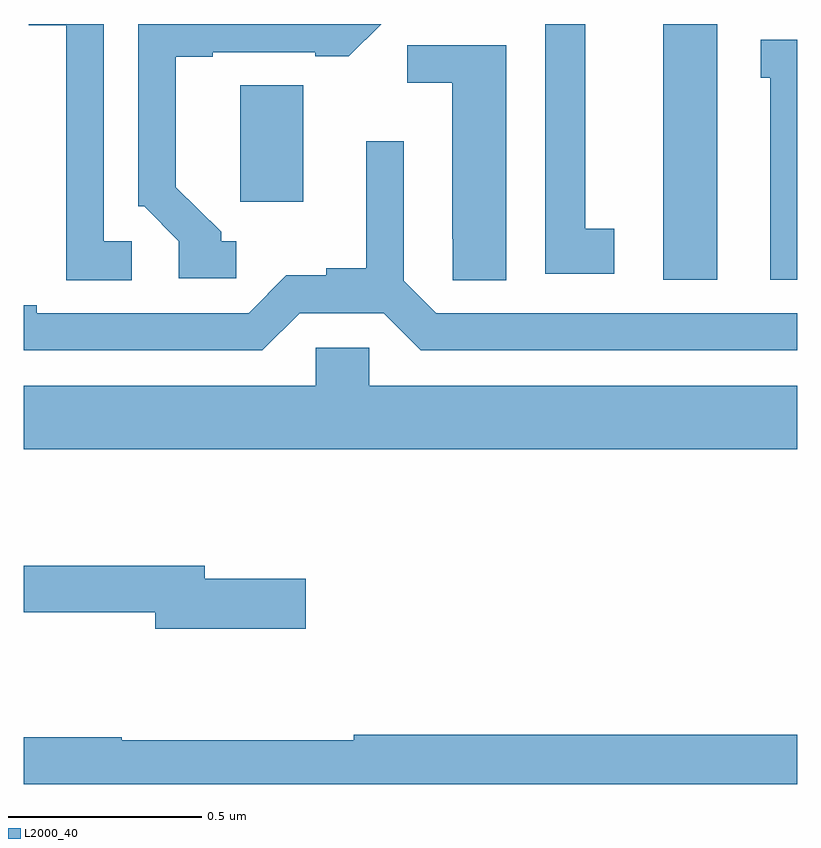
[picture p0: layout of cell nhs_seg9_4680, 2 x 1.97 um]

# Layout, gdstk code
import gdstk
lib = gdstk.Library(unit=1e-6, precision=1e-09)
def R(c, l, rs):  # rectangles x0, y0, x1, y1
    for r in rs: c.add(gdstk.rectangle(r[:2], r[2:], *l))
def P(c, l, *ps):  # polygons
    for p in ps: c.add(gdstk.Polygon(p, *l))
L2000_40 = (2000, 40)

nhs_seg9_4680 = lib.new_cell('nhs_seg9_4680')
R(nhs_seg9_4680, L2000_40, [(170.654,1216.839,170.794,1217.5)])
P(nhs_seg9_4680, L2000_40, [(169.279,1216.938),(169.206,1216.938),(169.206,1217.5),(169.013,1217.5),(169.013,1217.497),(169.109,1217.497),(169.109,1216.837),(169.279,1216.837)],
  [(169.549,1216.938),(169.51,1216.938),(169.51,1216.962),(169.393,1217.078),(169.393,1217.415),(169.489,1217.415),(169.489,1217.427),(169.754,1217.427),(169.754,1217.416),(169.84,1217.416),(169.924,1217.5),(169.296,1217.5),(169.296,1217.028),(169.311,1217.028),(169.401,1216.938),(169.401,1216.842),(169.549,1216.842)],
  [(170.527,1216.97),(170.452,1216.97),(170.452,1217.5),(170.348,1217.5),(170.348,1216.854),(170.527,1216.854)],
  [(171,1217.459),(170.906,1217.459),(170.906,1217.361),(170.93,1217.361),(170.93,1216.839),(171,1216.839)],
  [(170.248,1217.445),(169.992,1217.445),(169.992,1217.348),(170.108,1217.348),(170.108,1216.945),(170.109,1216.945),(170.109,1216.837),(170.248,1216.837)],
  [(169.723,1217.184),(169.722,1217.184),(169.722,1217.342),(169.559,1217.342),(169.559,1217.04),(169.723,1217.04)],
  [(169.713,1216.752),(169.931,1216.752),(170.027,1216.656),(171,1216.656),(171,1216.752),(170.067,1216.752),(169.983,1216.836),(169.983,1217.197),(169.886,1217.197),(169.886,1216.868),(169.782,1216.868),(169.782,1216.85),(169.679,1216.85),(169.581,1216.752),(169.033,1216.752),(169.033,1216.772),(169,1216.772),(169,1216.656),(169.617,1216.656)],
  [(171,1216.564),(169.893,1216.564),(169.893,1216.662),(169.755,1216.662),(169.755,1216.564),(169,1216.564),(169,1216.4),(171,1216.4)],
  [(169.729,1216.065),(169.468,1216.065),(169.468,1216.099),(169,1216.099),(169,1215.978),(169.34,1215.978),(169.34,1215.935),(169.729,1215.935)],
  [(171,1215.662),(169.853,1215.662),(169.853,1215.647),(169.253,1215.647),(169.253,1215.655),(169,1215.655),(169,1215.534),(171,1215.534)])

lib.write_gds('nhs_seg9_4680.gds')
